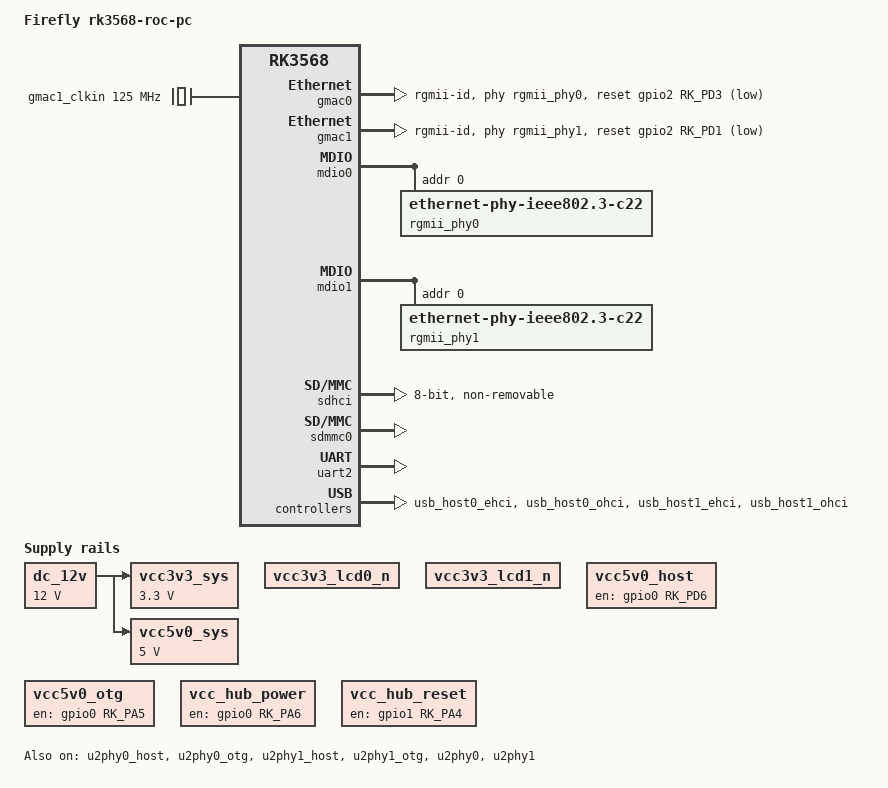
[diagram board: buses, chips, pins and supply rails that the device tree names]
// SPDX-License-Identifier: (GPL-2.0+ OR MIT)
/*
 * Copyright (c) 2021 Rockchip Electronics Co., Ltd.
 *
 */

/dts-v1/;
#include <dt-bindings/gpio/gpio.h>
#include <dt-bindings/pinctrl/rockchip.h>
#include "rk3568.dtsi"

/ {
	model = "Firefly rk3568-roc-pc";
	compatible = "firefly,rk3568-roc-pc", "rockchip,rk3568";

	chosen: chosen {
		stdout-path = "serial2:1500000n8";
	};

	gmac1_clkin: external-gmac1-clock {
		compatible = "fixed-clock";
		clock-frequency = <125000000>;
		clock-output-names = "gmac1_clkin";
		#clock-cells = <0>;
	};

	dc_12v: dc-12v {
		compatible = "regulator-fixed";
		regulator-name = "dc_12v";
		regulator-always-on;
		regulator-boot-on;
		regulator-min-microvolt = <12000000>;
		regulator-max-microvolt = <12000000>;
	};

	vcc3v3_sys: vcc3v3-sys {
		compatible = "regulator-fixed";
		regulator-name = "vcc3v3_sys";
		regulator-always-on;
		regulator-boot-on;
		regulator-min-microvolt = <3300000>;
		regulator-max-microvolt = <3300000>;
		vin-supply = <&dc_12v>;
	};

	vcc5v0_sys: vcc5v0-sys {
		compatible = "regulator-fixed";
		regulator-name = "vcc5v0_sys";
		regulator-always-on;
		regulator-boot-on;
		regulator-min-microvolt = <5000000>;
		regulator-max-microvolt = <5000000>;
		vin-supply = <&dc_12v>;
	};

	vcc3v3_lcd0_n: vcc3v3-lcd0-n {
		compatible = "regulator-fixed";
		regulator-name = "vcc3v3_lcd0_n";
		regulator-boot-on;

		regulator-state-mem {
			regulator-off-in-suspend;
		};
	};

	vcc3v3_lcd1_n: vcc3v3-lcd1-n {
		compatible = "regulator-fixed";
		regulator-name = "vcc3v3_lcd1_n";
		regulator-boot-on;

		regulator-state-mem {
			regulator-off-in-suspend;
		};
	};

	vcc5v0_host: vcc5v0-host-regulator {
		compatible = "regulator-fixed";
		enable-active-high;
		gpio = <&gpio0 RK_PD6 GPIO_ACTIVE_HIGH>;
		pinctrl-names = "default";
		pinctrl-0 = <&vcc5v0_host_en>;
		regulator-name = "vcc5v0_host";
		regulator-always-on;
	};

	vcc5v0_otg: vcc5v0-otg-regulator {
		compatible = "regulator-fixed";
		enable-active-high;
		gpio = <&gpio0 RK_PA5 GPIO_ACTIVE_HIGH>;
		pinctrl-names = "default";
		pinctrl-0 = <&vcc5v0_otg_en>;
		regulator-name = "vcc5v0_otg";
	};

	vcc_hub_power: vcc-hub-power-regulator {
		compatible = "regulator-fixed";
		enable-active-high;
		gpio = <&gpio0 RK_PA6 GPIO_ACTIVE_HIGH>;
		pinctrl-names = "default";
		pinctrl-0 = <&vcc_hub_power_en>;
		regulator-name = "vcc_hub_power_en";
		regulator-always-on;
	};

	vcc_hub_reset: vcc-hub-reset-regulator {
		compatible = "regulator-fixed";
		enable-active-high;
		gpio = <&gpio1 RK_PA4 GPIO_ACTIVE_HIGH>;
		pinctrl-names = "default";
		pinctrl-0 = <&vcc_hub_reset_en>;
		regulator-name = "vcc_hub_reset_en";
		regulator-always-on;
	};

	vcc3v3_lcd0_n: vcc3v3-lcd0-n {
		compatible = "regulator-fixed";
		regulator-name = "vcc3v3_lcd0_n";
		regulator-boot-on;

		regulator-state-mem {
			regulator-off-in-suspend;
		};
	};

	vcc3v3_lcd1_n: vcc3v3-lcd1-n {
		compatible = "regulator-fixed";
		regulator-name = "vcc3v3_lcd1_n";
		regulator-boot-on;

		regulator-state-mem {
			regulator-off-in-suspend;
		};
	};
};

&gmac0 {
	assigned-clocks = <&cru SCLK_GMAC0_RX_TX>, <&cru SCLK_GMAC0_RGMII_SPEED>, <&cru SCLK_GMAC0>;
	assigned-clock-parents = <&cru SCLK_GMAC0_RGMII_SPEED>,  <&cru SCLK_GMAC0>;
	assigned-clock-rates = <0>, <125000000>;
	clock_in_out = "output";
	phy-handle = <&rgmii_phy0>;
	phy-mode = "rgmii-id";
	pinctrl-names = "default";
	pinctrl-0 = <&gmac0_miim
		     &gmac0_tx_bus2
		     &gmac0_rx_bus2
		     &gmac0_rgmii_clk
		     &gmac0_rgmii_bus>;
	tx_delay = <0x3c>;
	rx_delay = <0x2f>;
	snps,reset-gpio = <&gpio2 RK_PD3 GPIO_ACTIVE_LOW>;
	snps,reset-active-low;
	/* Reset time is 20ms, 100ms for rtl8211f */
	snps,reset-delays-us = <0 20000 100000>;
	status = "okay";
};

&gmac1 {
	assigned-clocks = <&cru SCLK_GMAC1_RX_TX>, <&cru SCLK_GMAC1_RGMII_SPEED>, <&cru SCLK_GMAC1>;
	assigned-clock-parents = <&cru SCLK_GMAC1_RGMII_SPEED>, <&cru SCLK_GMAC1>;
	assigned-clock-rates = <0>, <125000000>;
	clock_in_out = "output";
	phy-handle = <&rgmii_phy1>;
	phy-mode = "rgmii-id";
	pinctrl-names = "default";
	pinctrl-0 = <&gmac1m1_miim
		     &gmac1m1_tx_bus2
		     &gmac1m1_rx_bus2
		     &gmac1m1_rgmii_clk
		     &gmac1m1_rgmii_bus>;
	tx_delay = <0x4f>;
	rx_delay = <0x26>;
	snps,reset-gpio = <&gpio2 RK_PD1 GPIO_ACTIVE_LOW>;
	snps,reset-active-low;
	/* Reset time is 20ms, 100ms for rtl8211f */
	snps,reset-delays-us = <0 20000 100000>;
	status = "okay";
};

&mdio0 {
	rgmii_phy0: ethernet-phy@0 {
		compatible = "ethernet-phy-ieee802.3-c22";
		reg = <0x0>;
	};
};

&mdio1 {
	rgmii_phy1: ethernet-phy@0 {
		compatible = "ethernet-phy-ieee802.3-c22";
		reg = <0x0>;
	};
};

&pinctrl {
	usb {
		vcc_hub_power_en: vcc-hub-power-en {
			rockchip,pins = <0 RK_PA6 RK_FUNC_GPIO &pcfg_pull_none>;
		};

		vcc_hub_reset_en: vcc-hub-reset-en {
			rockchip,pins = <1 RK_PA4 RK_FUNC_GPIO &pcfg_pull_none>;
		};
	};

	fusb30x {
		fusb0_int: fusb0-int {
			rockchip,pins = <0 RK_PC1 RK_FUNC_GPIO &pcfg_pull_up>;
		};
	};

	pmic {
		pmic_int: pmic_int {
			rockchip,pins =
				<0 RK_PA3 RK_FUNC_GPIO &pcfg_pull_up>;
		};
	};

	usb {
		vcc5v0_host_en: vcc5v0-host-en {
			rockchip,pins = <0 RK_PD6 RK_FUNC_GPIO &pcfg_pull_none>;
		};

		vcc5v0_otg_en: vcc5v0-otg-en {
			rockchip,pins = <0 RK_PA5 RK_FUNC_GPIO &pcfg_pull_none>;
		};
	};

};

&sdhci {
	bus-width = <8>;
	max-frequency = <200000000>;
	non-removable;
	status = "okay";
};

&sdmmc0 {
	status = "okay";
	max-frequency = <52000000>;
};

&uart2 {
	status = "okay";
};

&u2phy0_host {
	phy-supply = <&vcc5v0_host>;
	status = "okay";
};

&u2phy0_otg {
	vbus-supply = <&vcc5v0_otg>;
	status = "okay";
};

&u2phy1_host {
	phy-supply = <&vcc5v0_host>;
	status = "okay";
};

&u2phy1_otg {
	phy-supply = <&vcc5v0_host>;
	status = "okay";
};

&u2phy0 {
	status = "okay";
};

&u2phy1 {
	status = "okay";
};

&usb_host0_ehci {
	status = "okay";
};

&usb_host0_ohci {
	status = "okay";
};

&usb_host1_ehci {
	status = "okay";
};

&usb_host1_ohci {
	status = "okay";
};
